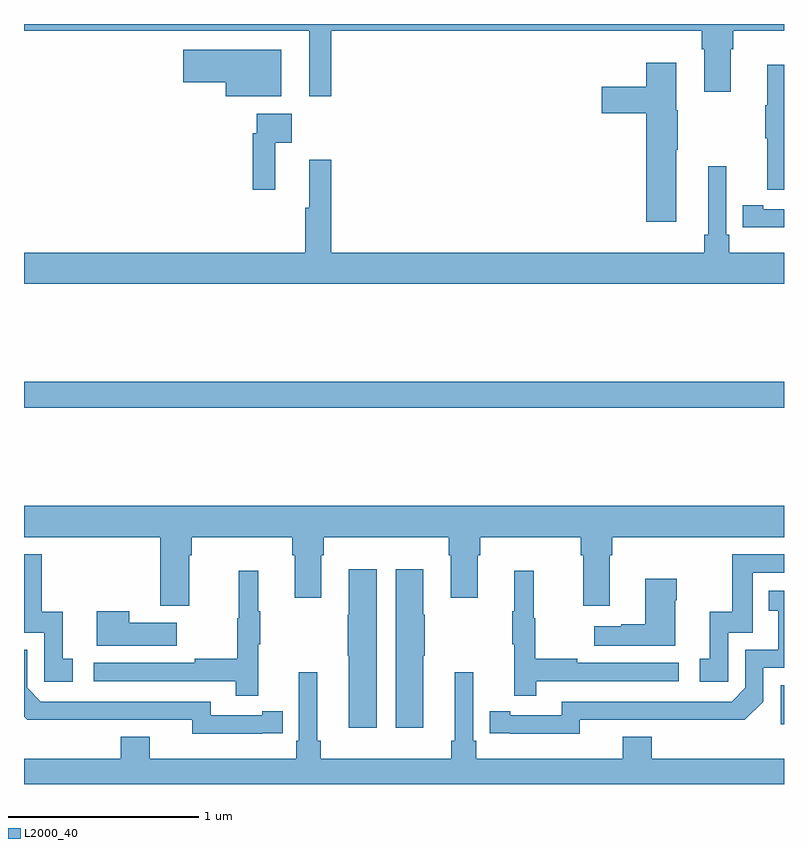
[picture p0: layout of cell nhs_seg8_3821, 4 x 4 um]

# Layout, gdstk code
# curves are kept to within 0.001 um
import gdstk
lib = gdstk.Library(unit=1e-6, precision=1e-09)
def R(c, l, rs):  # rectangles x0, y0, x1, y1
    for r in rs: c.add(gdstk.rectangle(r[:2], r[2:], *l))
def P(c, l, *ps):  # polygons
    for p in ps: c.add(gdstk.Polygon(p, *l))
L2000_40 = (2000, 40)

nhs_seg8_3821 = lib.new_cell('nhs_seg8_3821')
R(nhs_seg8_3821, L2000_40, [(350.982,1082.214,351,1082.421), (347,1083.88,351,1084.016)])
P(nhs_seg8_3821, L2000_40, [(348.617,1085.864),(350.567,1085.864),(350.567,1085.768),(350.579,1085.768),(350.579,1085.544),(350.719,1085.544),(350.719,1085.768),(350.732,1085.768),(350.732,1085.864),(351,1085.864),(351,1085.9),(347,1085.9),(347,1085.864),(348.5,1085.864),(348.5,1085.52),(348.617,1085.52)],
  [(348.355,1085.764),(347.838,1085.764),(347.838,1085.594),(348.062,1085.594),(348.062,1085.519),(348.355,1085.519)],
  [(350.434,1085.239),(350.442,1085.239),(350.442,1085.445),(350.434,1085.445),(350.434,1085.695),(350.276,1085.695),(350.276,1085.571),(350.04,1085.571),(350.04,1085.429),(350.276,1085.429),(350.276,1084.86),(350.434,1084.86)],
  [(351,1085.686),(350.912,1085.686),(350.912,1085.473),(350.901,1085.473),(350.901,1085.299),(350.912,1085.299),(350.912,1085.028),(351,1085.028)],
  [(348.323,1085.276),(348.409,1085.276),(348.409,1085.428),(348.225,1085.428),(348.225,1085.324),(348.205,1085.324),(348.205,1085.028),(348.323,1085.028)],
  [(351,1084.696),(350.711,1084.696),(350.711,1084.792),(350.697,1084.792),(350.697,1085.152),(350.6,1085.152),(350.6,1084.792),(350.581,1084.792),(350.581,1084.696),(348.617,1084.696),(348.617,1085.185),(348.5,1085.185),(348.5,1084.932),(348.481,1084.932),(348.481,1084.696),(347,1084.696),(347,1084.532),(351,1084.532)],
  [(351,1084.926),(350.89,1084.926),(350.89,1084.946),(350.782,1084.946),(350.782,1084.83),(350.89,1084.83),(350.89,1084.829),(351,1084.829)],
  [(347.869,1083.104),(347.882,1083.104),(347.882,1083.2),(348.413,1083.2),(348.413,1083.104),(348.425,1083.104),(348.425,1082.88),(348.565,1082.88),(348.565,1083.104),(348.578,1083.104),(348.578,1083.2),(349.235,1083.2),(349.235,1083.104),(349.247,1083.104),(349.247,1082.88),(349.387,1082.88),(349.387,1083.104),(349.4,1083.104),(349.4,1083.2),(349.931,1083.2),(349.931,1083.104),(349.943,1083.104),(349.943,1082.838),(350.083,1082.838),(350.083,1083.104),(350.096,1083.104),(350.096,1083.2),(351,1083.2),(351,1083.364),(347,1083.364),(347,1083.2),(347.717,1083.2),(347.717,1082.838),(347.869,1082.838)],
  [(350.706,1082.697),(350.835,1082.697),(350.835,1083.012),(351,1083.012),(351,1083.108),(350.727,1083.108),(350.727,1082.806),(350.609,1082.806),(350.609,1082.559),(350.556,1082.559),(350.556,1082.439),(350.706,1082.439)],
  [(347.257,1082.559),(347.204,1082.559),(347.204,1082.806),(347.093,1082.806),(347.093,1083.108),(347,1083.108),(347,1082.697),(347.106,1082.697),(347.106,1082.439),(347.257,1082.439)],
  [(348.856,1083.031),(348.71,1083.031),(348.71,1082.792),(348.703,1082.792),(348.703,1082.575),(348.71,1082.575),(348.71,1082.196),(348.856,1082.196)],
  [(349.102,1082.575),(349.11,1082.575),(349.11,1082.792),(349.102,1082.792),(349.102,1083.031),(348.956,1083.031),(348.956,1082.196),(349.102,1082.196)],
  [(349.697,1082.442),(350.446,1082.442),(350.446,1082.538),(349.913,1082.538),(349.913,1082.558),(349.69,1082.558),(349.69,1082.772),(349.682,1082.772),(349.682,1083.022),(349.58,1083.022),(349.58,1082.809),(349.569,1082.809),(349.569,1082.635),(349.58,1082.635),(349.58,1082.364),(349.697,1082.364)],
  [(348.233,1082.635),(348.244,1082.635),(348.244,1082.809),(348.233,1082.809),(348.233,1083.022),(348.13,1083.022),(348.13,1082.772),(348.123,1082.772),(348.123,1082.558),(347.899,1082.558),(347.899,1082.538),(347.367,1082.538),(347.367,1082.442),(348.115,1082.442),(348.115,1082.364),(348.233,1082.364)],
  [(350.428,1082.867),(350.436,1082.867),(350.436,1082.98),(350.27,1082.98),(350.27,1082.741),(350.144,1082.741),(350.144,1082.731),(350.001,1082.731),(350.001,1082.627),(350.428,1082.627)],
  [(349.926,1082.238),(350.794,1082.237),(350.892,1082.334),(350.892,1082.511),(351,1082.511),(351,1082.917),(350.92,1082.917),(350.92,1082.811),(350.969,1082.811),(350.969,1082.607),(350.796,1082.607),(350.796,1082.406),(350.724,1082.334),(349.83,1082.334),(349.83,1082.262),(349.558,1082.262),(349.558,1082.282),(349.45,1082.282),(349.45,1082.166),(349.926,1082.165)],
  [(347.803,1082.749),(347.555,1082.749),(347.555,1082.809),(347.384,1082.809),(347.384,1082.627),(347.803,1082.627)],
  [(348.254,1082.166),(348.362,1082.166),(348.362,1082.282),(348.254,1082.282),(348.254,1082.262),(347.982,1082.262),(347.982,1082.334),(347.088,1082.334),(347.016,1082.406),(347.016,1082.607),(347,1082.607),(347,1082.255),(347.018,1082.237),(347.886,1082.238),(347.886,1082.165)],
  [(351,1082.032),(350.303,1082.032),(350.303,1082.149),(350.15,1082.149),(350.15,1082.032),(349.379,1082.032),(349.379,1082.128),(349.365,1082.128),(349.365,1082.488),(349.268,1082.488),(349.268,1082.128),(349.249,1082.128),(349.249,1082.032),(348.563,1082.032),(348.563,1082.128),(348.544,1082.128),(348.544,1082.488),(348.447,1082.488),(348.447,1082.128),(348.434,1082.128),(348.434,1082.032),(347.662,1082.032),(347.662,1082.149),(347.51,1082.149),(347.51,1082.032),(347,1082.032),(347,1081.9),(351,1081.9)])

lib.write_gds('nhs_seg8_3821.gds')
